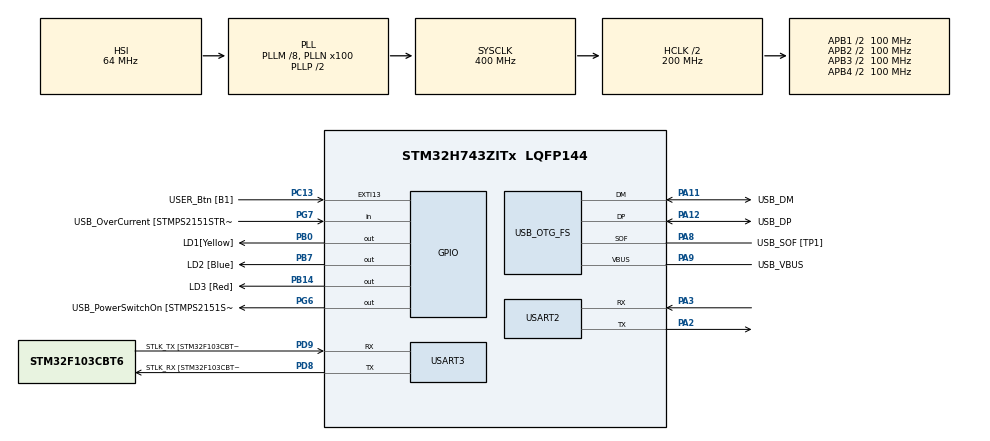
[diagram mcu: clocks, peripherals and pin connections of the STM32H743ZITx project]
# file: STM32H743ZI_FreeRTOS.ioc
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FREERTOS.Tasks01=defaultTask,24,128,StartDefaultTask,Default,NULL,Dynamic,NULL,NULL
Mcu.Family=STM32H7
Mcu.Name=STM32H743ZITx
Mcu.Package=LQFP144
NVIC.PriorityGroup=NVIC_PRIORITYGROUP_4
NVIC.TIM1_UP_IRQn=true\:0\:0\:false\:false\:true\:false\:false\:true
NVIC.TimeBase=TIM1_UP_IRQn
NVIC.TimeBaseIP=TIM1
PA10.GPIO_Label=USB_ID
PA10.Signal=USB_OTG_FS_ID
PA11.GPIO_Label=USB_DM
PA11.Mode=Device_Only
PA11.Signal=USB_OTG_FS_DM
PA12.GPIO_Label=USB_DP
PA12.Mode=Device_Only
PA12.Signal=USB_OTG_FS_DP
PA13\ (JTMS/SWDIO).Mode=Trace_Asynchronous_SW
PA13\ (JTMS/SWDIO).Signal=DEBUG_JTMS-SWDIO
PA14\ (JTCK/SWCLK).Mode=Trace_Asynchronous_SW
PA14\ (JTCK/SWCLK).Signal=DEBUG_JTCK-SWCLK
PA2.Mode=Asynchronous
PA2.Signal=USART2_TX
PA3.Mode=Asynchronous
PA3.Signal=USART2_RX
PA8.GPIO_Label=USB_SOF [TP1]
PA8.Mode=Activate_SOF_FS
PA8.Signal=USB_OTG_FS_SOF
PA9.GPIO_Label=USB_VBUS
PA9.Mode=Activate_VBUS
PA9.Signal=USB_OTG_FS_VBUS
PB0.GPIO_Label=LD1[Yellow]
PB0.Signal=GPIO_Output
PB13.GPIO_Label=RMII_TXD1
PB13.Signal=ETH_TXD1
PB14.GPIO_Label=LD3 [Red]
PB14.Signal=GPIO_Output
PB3\ (JTDO/TRACESWO).Mode=Trace_Asynchronous_SW
PB3\ (JTDO/TRACESWO).Signal=DEBUG_JTDO-SWO
PB7.GPIO_Label=LD2 [Blue]
PB7.Signal=GPIO_Output
PC13.GPIO_Label=USER_Btn [B1]
PC13.Signal=GPXTI13
PC14-OSC32_IN\ (OSC32_IN).Signal=RCC_OSC32_IN
PC15-OSC32_OUT\ (OSC32_OUT).Signal=RCC_OSC32_OUT
PD8.GPIO_Label=STLK_RX [STM32F103CBT6_PA3]
PD8.Mode=Asynchronous
PD8.Signal=USART3_TX
PD9.GPIO_Label=STLK_TX [STM32F103CBT6_PA2]
PD9.Mode=Asynchronous
PD9.Signal=USART3_RX
PG11.GPIO_Label=RMII_TX_EN
PG11.Signal=ETH_TX_EN
PG13.GPIO_Label=RMII_TXD0
PG13.Signal=ETH_TXD0
PG6.GPIO_Label=USB_PowerSwitchOn [STMPS2151STR_EN]
PG6.Signal=GPIO_Output
PG7.GPIO_Label=USB_OverCurrent [STMPS2151STR_FAULT]
PG7.Signal=GPIO_Input
PH0-OSC_IN\ (PH0).GPIO_Label=MCO
PH0-OSC_IN\ (PH0).Mode=HSE-External-Oscillator
PH0-OSC_IN\ (PH0).Signal=RCC_OSC_IN
PH1-OSC_OUT\ (PH1).Mode=HSE-External-Oscillator
PH1-OSC_OUT\ (PH1).Signal=RCC_OSC_OUT
ProjectManager.HeapSize=0x200
ProjectManager.StackSize=0x400
ProjectManager.TargetToolchain=MDK-ARM V5
RCC.48MHZClocksFreq_Value=24000000
RCC.ADCFreq_Value=129000000
RCC.AHBFreq_Value=216000000
RCC.APB1CLKDivider=RCC_HCLK_DIV4
RCC.APB1Freq_Value=100000000
RCC.APB1TimFreq_Value=108000000
RCC.APB2CLKDivider=RCC_HCLK_DIV2
RCC.APB2Freq_Value=100000000
RCC.APB2TimFreq_Value=216000000
RCC.APB3Freq_Value=100000000
RCC.APB4Freq_Value=100000000
RCC.CortexFreq_Value=400000000
RCC.D1PPRE=RCC_APB3_DIV2
RCC.D2PPRE1=RCC_APB1_DIV2
RCC.D2PPRE2=RCC_APB2_DIV2
RCC.D3PPRE=RCC_APB4_DIV2
RCC.DIVM1=8
RCC.DIVN1=100
RCC.HCLKFreq_Value=200000000
RCC.HPRE=RCC_HCLK_DIV2
RCC.HSE_VALUE=8000000
RCC.HSI_VALUE=64000000
RCC.PLLM=25
RCC.PLLMUL=RCC_PLL_MUL9
RCC.PLLN=432
RCC.PLLQ=9
RCC.PRESCALERUSB=RCC_USBCLKSOURCE_PLL_DIV1_5
RCC.PWR_Regulator_Voltage_Scale=PWR_REGULATOR_VOLTAGE_SCALE1
RCC.SYSCLKFreq_VALUE=400000000
RCC.SYSCLKSource=RCC_SYSCLKSOURCE_PLLCLK
RCC.SYSCLKSourceVirtual=RCC_SYSCLKSOURCE_PLLCLK
RCC.USBCLockSelection=RCC_USBCLKSOURCE_HSI48
RCC.USBFreq_Value=48000000
RCC.VCOOutputFreq_Value=432000000
USART2.VirtualMode-Asynchronous=VM_ASYNC
USART3.VirtualMode-Asynchronous=VM_ASYNC
USB_OTG_FS.VirtualMode=Device_Only
VP_FREERTOS_VS_CMSIS_V2.Mode=CMSIS_V2
VP_SYS_VS_tim1.Mode=TIM1
board=NUCLEO-H743ZI

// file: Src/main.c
/* USER CODE BEGIN Header */
/**
  ******************************************************************************
  * @file           : main.c
  * @brief          : Main program body
  ******************************************************************************
  * @attention
  *
  * <h2><center>&copy; Copyright (c) 2019 STMicroelectronics.
  * All rights reserved.</center></h2>
  *
  * This software component is licensed by ST under Ultimate Liberty license
  * SLA0044, the "License"; You may not use this file except in compliance with
  * the License. You may obtain a copy of the License at:
  *                             www.st.com/SLA0044
  *
  ******************************************************************************
  */
/* USER CODE END Header */

#include "main.h"
#include "cmsis_os.h"

UART_HandleTypeDef huart2;
UART_HandleTypeDef huart3;

PCD_HandleTypeDef hpcd_USB_OTG_FS;

osThreadId_t defaultTaskHandle;

void SystemClock_Config(void);
static void MX_GPIO_Init(void);
static void MX_USART3_UART_Init(void);
static void MX_USB_OTG_FS_PCD_Init(void);
static void MX_USART2_UART_Init(void);
void StartDefaultTask(void *argument);

/* USER CODE BEGIN 0 */
void LED_LD1_Task(void *argument)
{
    for (;;)
    {
        HAL_GPIO_WritePin(GPIOB, LD1_Pin, GPIO_PIN_SET); // LED ON
        osDelay(1000);
        HAL_GPIO_WritePin(GPIOB, LD1_Pin, GPIO_PIN_RESET); // LED OFF
        osDelay(1000);
    }
}

void LED_LD2_Task(void *argument)
{
    for (;;)
    {
        HAL_GPIO_WritePin(GPIOB, LD2_Pin, GPIO_PIN_SET); // LED ON
        osDelay(500);
        HAL_GPIO_WritePin(GPIOB, LD2_Pin, GPIO_PIN_RESET); // LED OFF
        osDelay(500);
    }
}

void LED_LD3_Task(void *argument)
{
    for (;;)
    {
        HAL_GPIO_WritePin(GPIOB, LD3_Pin, GPIO_PIN_SET); // LED ON
        osDelay(250);
        HAL_GPIO_WritePin(GPIOB, LD3_Pin, GPIO_PIN_RESET); // LED OFF
        osDelay(250);
    }
}

/* USER CODE END 0 */

int main(void)
{

    /* MCU Configuration--------------------------------------------------------*/

    /* Reset of all peripherals, Initializes the Flash interface and the Systick. */
    HAL_Init();

    /* Configure the system clock */
    SystemClock_Config();

    /* Initialize all configured peripherals */
    MX_GPIO_Init();
    MX_USART3_UART_Init();
    MX_USB_OTG_FS_PCD_Init();
    MX_USART2_UART_Init();
    /* USER CODE BEGIN 2 */
    HAL_GPIO_WritePin(GPIOB, LD1_Pin | LD3_Pin | LD2_Pin, GPIO_PIN_SET); // all gpio output on

    /* USER CODE END 2 */

    osKernelInitialize();

    /* Create the thread(s) */
    /* definition and creation of defaultTask */
    const osThreadAttr_t defaultTask_attributes = {
        .name = "defaultTask",
        .priority = (osPriority_t)osPriorityNormal,
        .stack_size = 128};
    defaultTaskHandle = osThreadNew(StartDefaultTask, NULL, &defaultTask_attributes);

    /* USER CODE BEGIN RTOS_THREADS */
    const osThreadAttr_t LED_LD1_Task_attributes = {
        .name = "LD1_Task",
        .priority = (osPriority_t)osPriorityNormal,
        .stack_size = 256};
    defaultTaskHandle = osThreadNew(LED_LD1_Task, NULL, &LED_LD1_Task_attributes);

    const osThreadAttr_t LED_LD2_Task_attributes = {
        .name = "LD2_Task",
        .priority = (osPriority_t)osPriorityNormal,
        .stack_size = 256};
    defaultTaskHandle = osThreadNew(LED_LD2_Task, NULL, &LED_LD2_Task_attributes);

    const osThreadAttr_t LED_LD3_Task_attributes = {
        .name = "LD3_Task",
        .priority = (osPriority_t)osPriorityNormal,
        .stack_size = 256};
    defaultTaskHandle = osThreadNew(LED_LD3_Task, NULL, &LED_LD3_Task_attributes);
    /* add threads, ... */
    /* USER CODE END RTOS_THREADS */

    /* Start scheduler */
    osKernelStart();

    /* We should never get here as control is now taken by the scheduler */

    /* Infinite loop */
    while (1)
    {

    }
}

void SystemClock_Config(void)
{
    RCC_OscInitTypeDef RCC_OscInitStruct = {0};
    RCC_ClkInitTypeDef RCC_ClkInitStruct = {0};
    RCC_PeriphCLKInitTypeDef PeriphClkInitStruct = {0};

    /** Supply configuration update enable
  */
    HAL_PWREx_ConfigSupply(PWR_LDO_SUPPLY);
    /** Configure the main internal regulator output voltage
  */
    __HAL_PWR_VOLTAGESCALING_CONFIG(PWR_REGULATOR_VOLTAGE_SCALE1);

    while (!__HAL_PWR_GET_FLAG(PWR_FLAG_VOSRDY))
    {
    }
    /** Initializes the CPU, AHB and APB busses clocks
  */
    RCC_OscInitStruct.OscillatorType = RCC_OSCILLATORTYPE_HSI48 | RCC_OSCILLATORTYPE_HSI;
    RCC_OscInitStruct.HSIState = RCC_HSI_DIV1;
    RCC_OscInitStruct.HSICalibrationValue = RCC_HSICALIBRATION_DEFAULT;
    RCC_OscInitStruct.HSI48State = RCC_HSI48_ON;
    RCC_OscInitStruct.PLL.PLLState = RCC_PLL_ON;
    RCC_OscInitStruct.PLL.PLLSource = RCC_PLLSOURCE_HSI;
    RCC_OscInitStruct.PLL.PLLM = 8;
    RCC_OscInitStruct.PLL.PLLN = 100;
    RCC_OscInitStruct.PLL.PLLP = 2;
    RCC_OscInitStruct.PLL.PLLQ = 2;
    RCC_OscInitStruct.PLL.PLLR = 2;
    RCC_OscInitStruct.PLL.PLLRGE = RCC_PLL1VCIRANGE_3;
    RCC_OscInitStruct.PLL.PLLVCOSEL = RCC_PLL1VCOWIDE;
    RCC_OscInitStruct.PLL.PLLFRACN = 0;
    if (HAL_RCC_OscConfig(&RCC_OscInitStruct) != HAL_OK)
    {
        Error_Handler();
    }
    /** Initializes the CPU, AHB and APB busses clocks
  */
    RCC_ClkInitStruct.ClockType = RCC_CLOCKTYPE_HCLK | RCC_CLOCKTYPE_SYSCLK | RCC_CLOCKTYPE_PCLK1 | RCC_CLOCKTYPE_PCLK2 | RCC_CLOCKTYPE_D3PCLK1 | RCC_CLOCKTYPE_D1PCLK1;
    RCC_ClkInitStruct.SYSCLKSource = RCC_SYSCLKSOURCE_PLLCLK;
    RCC_ClkInitStruct.SYSCLKDivider = RCC_SYSCLK_DIV1;
    RCC_ClkInitStruct.AHBCLKDivider = RCC_HCLK_DIV2;
    RCC_ClkInitStruct.APB3CLKDivider = RCC_APB3_DIV2;
    RCC_ClkInitStruct.APB1CLKDivider = RCC_APB1_DIV2;
    RCC_ClkInitStruct.APB2CLKDivider = RCC_APB2_DIV2;
    RCC_ClkInitStruct.APB4CLKDivider = RCC_APB4_DIV2;

    if (HAL_RCC_ClockConfig(&RCC_ClkInitStruct, FLASH_LATENCY_2) != HAL_OK)
    {
        Error_Handler();
    }
    PeriphClkInitStruct.PeriphClockSelection = RCC_PERIPHCLK_USART3 | RCC_PERIPHCLK_USART2 | RCC_PERIPHCLK_USB;
    PeriphClkInitStruct.Usart234578ClockSelection = RCC_USART234578CLKSOURCE_D2PCLK1;
    PeriphClkInitStruct.UsbClockSelection = RCC_USBCLKSOURCE_HSI48;
    if (HAL_RCCEx_PeriphCLKConfig(&PeriphClkInitStruct) != HAL_OK)
    {
        Error_Handler();
    }
    /** Enable USB Voltage detector
  */
    HAL_PWREx_EnableUSBVoltageDetector();
}

static void MX_USART2_UART_Init(void)
{

    huart2.Instance = USART2;
    huart2.Init.BaudRate = 115200;
    huart2.Init.WordLength = UART_WORDLENGTH_8B;
    huart2.Init.StopBits = UART_STOPBITS_1;
    huart2.Init.Parity = UART_PARITY_NONE;
    huart2.Init.Mode = UART_MODE_TX_RX;
    huart2.Init.HwFlowCtl = UART_HWCONTROL_NONE;
    huart2.Init.OverSampling = UART_OVERSAMPLING_16;
    huart2.Init.OneBitSampling = UART_ONE_BIT_SAMPLE_DISABLE;
    huart2.Init.ClockPrescaler = UART_PRESCALER_DIV1;
    huart2.AdvancedInit.AdvFeatureInit = UART_ADVFEATURE_NO_INIT;
    if (HAL_UART_Init(&huart2) != HAL_OK)
    {
        Error_Handler();
    }
    if (HAL_UARTEx_SetTxFifoThreshold(&huart2, UART_TXFIFO_THRESHOLD_1_8) != HAL_OK)
    {
        Error_Handler();
    }
    if (HAL_UARTEx_SetRxFifoThreshold(&huart2, UART_RXFIFO_THRESHOLD_1_8) != HAL_OK)
    {
        Error_Handler();
    }
    if (HAL_UARTEx_DisableFifoMode(&huart2) != HAL_OK)
    {
        Error_Handler();
    }
}

static void MX_USART3_UART_Init(void)
{

    huart3.Instance = USART3;
    huart3.Init.BaudRate = 115200;
    huart3.Init.WordLength = UART_WORDLENGTH_8B;
    huart3.Init.StopBits = UART_STOPBITS_1;
    huart3.Init.Parity = UART_PARITY_NONE;
    huart3.Init.Mode = UART_MODE_TX_RX;
    huart3.Init.HwFlowCtl = UART_HWCONTROL_NONE;
    huart3.Init.OverSampling = UART_OVERSAMPLING_16;
    huart3.Init.OneBitSampling = UART_ONE_BIT_SAMPLE_DISABLE;
    huart3.Init.ClockPrescaler = UART_PRESCALER_DIV1;
    huart3.AdvancedInit.AdvFeatureInit = UART_ADVFEATURE_NO_INIT;
    if (HAL_UART_Init(&huart3) != HAL_OK)
    {
        Error_Handler();
    }
    if (HAL_UARTEx_SetTxFifoThreshold(&huart3, UART_TXFIFO_THRESHOLD_1_8) != HAL_OK)
    {
        Error_Handler();
    }
    if (HAL_UARTEx_SetRxFifoThreshold(&huart3, UART_RXFIFO_THRESHOLD_1_8) != HAL_OK)
    {
        Error_Handler();
    }
    if (HAL_UARTEx_DisableFifoMode(&huart3) != HAL_OK)
    {
        Error_Handler();
    }
}

static void MX_USB_OTG_FS_PCD_Init(void)
{

    hpcd_USB_OTG_FS.Instance = USB_OTG_FS;
    hpcd_USB_OTG_FS.Init.dev_endpoints = 9;
    hpcd_USB_OTG_FS.Init.speed = PCD_SPEED_FULL;
    hpcd_USB_OTG_FS.Init.dma_enable = DISABLE;
    hpcd_USB_OTG_FS.Init.phy_itface = PCD_PHY_EMBEDDED;
    hpcd_USB_OTG_FS.Init.Sof_enable = ENABLE;
    hpcd_USB_OTG_FS.Init.low_power_enable = DISABLE;
    hpcd_USB_OTG_FS.Init.lpm_enable = DISABLE;
    hpcd_USB_OTG_FS.Init.battery_charging_enable = ENABLE;
    hpcd_USB_OTG_FS.Init.vbus_sensing_enable = ENABLE;
    hpcd_USB_OTG_FS.Init.use_dedicated_ep1 = DISABLE;
    if (HAL_PCD_Init(&hpcd_USB_OTG_FS) != HAL_OK)
    {
        Error_Handler();
    }
}

static void MX_GPIO_Init(void)
{
    GPIO_InitTypeDef GPIO_InitStruct = {0};

    /* GPIO Ports Clock Enable */
    __HAL_RCC_GPIOC_CLK_ENABLE();
    __HAL_RCC_GPIOH_CLK_ENABLE();
    __HAL_RCC_GPIOA_CLK_ENABLE();
    __HAL_RCC_GPIOB_CLK_ENABLE();
    __HAL_RCC_GPIOD_CLK_ENABLE();
    __HAL_RCC_GPIOG_CLK_ENABLE();

    /*Configure GPIO pin Output Level */
    HAL_GPIO_WritePin(GPIOB, LD1_Pin | LD3_Pin | LD2_Pin, GPIO_PIN_RESET);

    /*Configure GPIO pin Output Level */
    HAL_GPIO_WritePin(USB_PowerSwitchOn_GPIO_Port, USB_PowerSwitchOn_Pin, GPIO_PIN_RESET);

    /*Configure GPIO pin : USER_Btn_Pin */
    GPIO_InitStruct.Pin = USER_Btn_Pin;
    GPIO_InitStruct.Mode = GPIO_MODE_IT_RISING;
    GPIO_InitStruct.Pull = GPIO_NOPULL;
    HAL_GPIO_Init(USER_Btn_GPIO_Port, &GPIO_InitStruct);

    /*Configure GPIO pins : LD1_Pin LD3_Pin LD2_Pin */
    GPIO_InitStruct.Pin = LD1_Pin | LD3_Pin | LD2_Pin;
    GPIO_InitStruct.Mode = GPIO_MODE_OUTPUT_PP;
    GPIO_InitStruct.Pull = GPIO_NOPULL;
    GPIO_InitStruct.Speed = GPIO_SPEED_FREQ_LOW;
    HAL_GPIO_Init(GPIOB, &GPIO_InitStruct);

    /*Configure GPIO pin : RMII_TXD1_Pin */
    GPIO_InitStruct.Pin = RMII_TXD1_Pin;
    GPIO_InitStruct.Mode = GPIO_MODE_AF_PP;
    GPIO_InitStruct.Pull = GPIO_NOPULL;
    GPIO_InitStruct.Speed = GPIO_SPEED_FREQ_LOW;
    GPIO_InitStruct.Alternate = GPIO_AF11_ETH;
    HAL_GPIO_Init(RMII_TXD1_GPIO_Port, &GPIO_InitStruct);

    /*Configure GPIO pin : USB_PowerSwitchOn_Pin */
    GPIO_InitStruct.Pin = USB_PowerSwitchOn_Pin;
    GPIO_InitStruct.Mode = GPIO_MODE_OUTPUT_PP;
    GPIO_InitStruct.Pull = GPIO_NOPULL;
    GPIO_InitStruct.Speed = GPIO_SPEED_FREQ_LOW;
    HAL_GPIO_Init(USB_PowerSwitchOn_GPIO_Port, &GPIO_InitStruct);

    /*Configure GPIO pin : USB_OverCurrent_Pin */
    GPIO_InitStruct.Pin = USB_OverCurrent_Pin;
    GPIO_InitStruct.Mode = GPIO_MODE_INPUT;
    GPIO_InitStruct.Pull = GPIO_NOPULL;
    HAL_GPIO_Init(USB_OverCurrent_GPIO_Port, &GPIO_InitStruct);

    /*Configure GPIO pins : RMII_TX_EN_Pin RMII_TXD0_Pin */
    GPIO_InitStruct.Pin = RMII_TX_EN_Pin | RMII_TXD0_Pin;
    GPIO_InitStruct.Mode = GPIO_MODE_AF_PP;
    GPIO_InitStruct.Pull = GPIO_NOPULL;
    GPIO_InitStruct.Speed = GPIO_SPEED_FREQ_LOW;
    GPIO_InitStruct.Alternate = GPIO_AF11_ETH;
    HAL_GPIO_Init(GPIOG, &GPIO_InitStruct);
}

void StartDefaultTask(void *argument)
{

    for (;;)
    {
        osDelay(1);
    }
}

void HAL_TIM_PeriodElapsedCallback(TIM_HandleTypeDef *htim)
{
    if (htim->Instance == TIM1)
    {
        HAL_IncTick();
    }
}

void Error_Handler(void)
{
}

/************************ (C) COPYRIGHT STMicroelectronics *****END OF FILE****/
